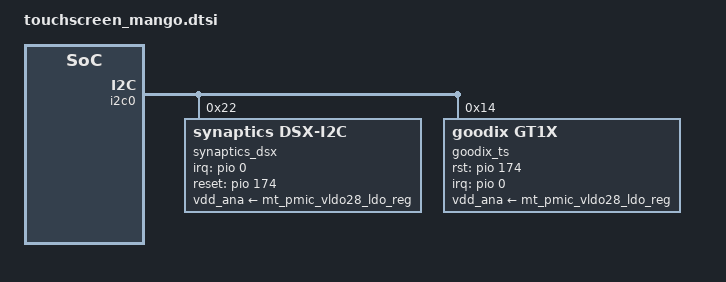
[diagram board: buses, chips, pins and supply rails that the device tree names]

&i2c0 {
	status = "okay";
	synaptics_dsx@22 {
		compatible = "synaptics,dsx-i2c";
		reg = <0x22>;
		synaptics,pwr-reg-name = "vdd_ana";
		vdd_ana-supply = <&mt_pmic_vldo28_ldo_reg>;
		synaptics,irq-gpio = <&pio 0 0x2002>;
		synaptics,reset-gpio = <&pio 174 0x00>;
		synaptics,power-on-state = <1>;
		synaptics,irq-on-state = <0>;
		synaptics,reset-on-state = <0>;
		synaptics,power-delay-ms = <20>;
		synaptics,reset-delay-ms = <90>;
		synaptics,reset-active-ms = <20>;
	};
	goodix_ts@14 {
		compatible = "goodix,gt1x";
		reg = <0x14>;
		vdd_ana-supply = <&mt_pmic_vldo28_ldo_reg>;
		goodix,rst-gpio = <&pio 174 0>;
		goodix,irq-gpio = <&pio 0 0x2002>;
	};

};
